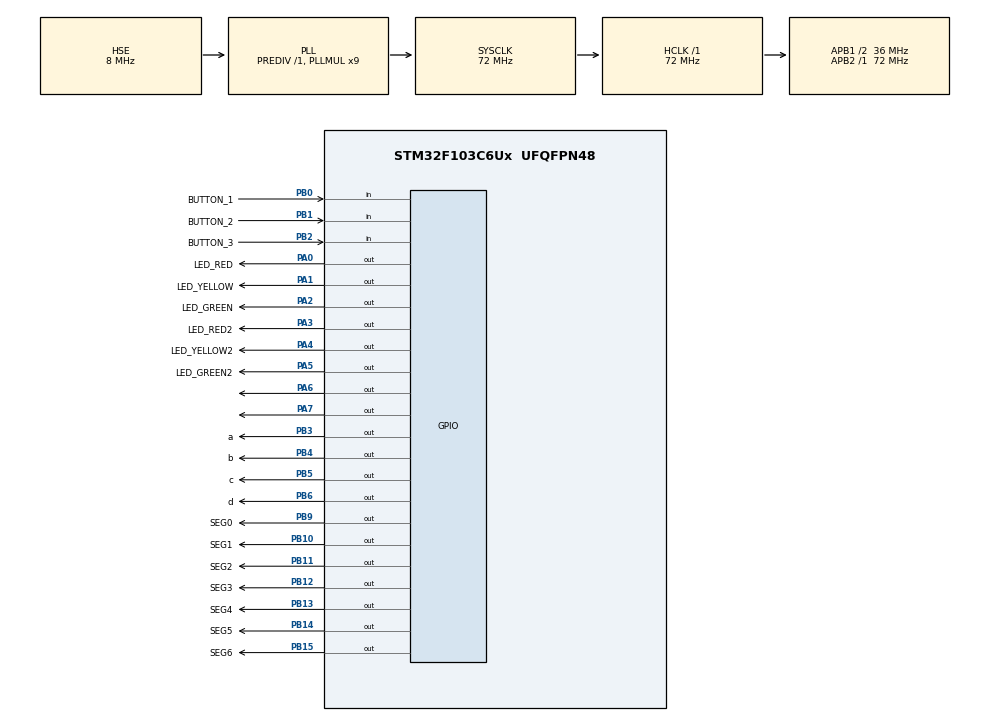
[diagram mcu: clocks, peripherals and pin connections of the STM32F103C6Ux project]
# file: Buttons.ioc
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Mcu.Family=STM32F1
Mcu.Name=STM32F103C6Ux
Mcu.Package=UFQFPN48
NVIC.PriorityGroup=NVIC_PRIORITYGROUP_4
NVIC.TIM2_IRQn=true\:0\:0\:false\:false\:true\:true\:true
PA0-WKUP.GPIO_Label=LED_RED
PA0-WKUP.Signal=GPIO_Output
PA1.GPIO_Label=LED_YELLOW
PA1.Signal=GPIO_Output
PA13.Mode=Serial_Wire
PA13.Signal=SYS_JTMS-SWDIO
PA14.Mode=Serial_Wire
PA14.Signal=SYS_JTCK-SWCLK
PA2.GPIO_Label=LED_GREEN
PA2.Signal=GPIO_Output
PA3.GPIO_Label=LED_RED2
PA3.Signal=GPIO_Output
PA4.GPIO_Label=LED_YELLOW2
PA4.Signal=GPIO_Output
PA5.GPIO_Label=LED_GREEN2
PA5.Signal=GPIO_Output
PA6.Signal=GPIO_Output
PA7.Signal=GPIO_Output
PB0.GPIO_Label=BUTTON_1
PB0.GPIO_PuPd=GPIO_PULLUP
PB0.Signal=GPIO_Input
PB1.GPIO_Label=BUTTON_2
PB1.Signal=GPIO_Input
PB10.GPIO_Label=SEG1
PB10.Signal=GPIO_Output
PB11.GPIO_Label=SEG2
PB11.Signal=GPIO_Output
PB12.GPIO_Label=SEG3
PB12.Signal=GPIO_Output
PB13.GPIO_Label=SEG4
PB13.Signal=GPIO_Output
PB14.GPIO_Label=SEG5
PB14.Signal=GPIO_Output
PB15.GPIO_Label=SEG6
PB15.Signal=GPIO_Output
PB2.GPIO_Label=BUTTON_3
PB2.Signal=GPIO_Input
PB3.GPIO_Label=a
PB3.Signal=GPIO_Output
PB4.GPIO_Label=b
PB4.Signal=GPIO_Output
PB5.GPIO_Label=c
PB5.Signal=GPIO_Output
PB6.GPIO_Label=d
PB6.Signal=GPIO_Output
PB9.GPIO_Label=SEG0
PB9.Signal=GPIO_Output
PD0-OSC_IN.Mode=HSE-External-Oscillator
PD0-OSC_IN.Signal=RCC_OSC_IN
PD1-OSC_OUT.Mode=HSE-External-Oscillator
PD1-OSC_OUT.Signal=RCC_OSC_OUT
ProjectManager.HeapSize=0x200
ProjectManager.StackSize=0x400
ProjectManager.TargetToolchain=STM32CubeIDE
RCC.AHBFreq_Value=72000000
RCC.APB1CLKDivider=RCC_HCLK_DIV2
RCC.APB1Freq_Value=36000000
RCC.APB1TimFreq_Value=72000000
RCC.APB2Freq_Value=72000000
RCC.APB2TimFreq_Value=72000000
RCC.HCLKFreq_Value=72000000
RCC.PLLMUL=RCC_PLL_MUL9
RCC.PLLSourceVirtual=RCC_PLLSOURCE_HSE
RCC.SYSCLKFreq_VALUE=72000000
RCC.SYSCLKSource=RCC_SYSCLKSOURCE_PLLCLK
RCC.USBFreq_Value=72000000
TIM2.Period=10000-1
TIM2.Prescaler=72-1
VP_TIM2_VS_ClockSourceINT.Mode=Internal
board=custom

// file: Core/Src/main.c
/* USER CODE BEGIN Header */
/**
  ******************************************************************************
  * @file           : main.c
  * @brief          : Main program body
  ******************************************************************************
  * @attention
  *
  * <h2><center>&copy; Copyright (c) 2026 STMicroelectronics.
  * All rights reserved.</center></h2>
  *
  * This software component is licensed by ST under BSD 3-Clause license,
  * the "License"; You may not use this file except in compliance with the
  * License. You may obtain a copy of the License at:
  *                        opensource.org/licenses/BSD-3-Clause
  *
  ******************************************************************************
  */
/* USER CODE END Header */
#include "main.h"

/* USER CODE BEGIN Includes */
#include "led_display.h"
#include "traffic_light.h"
/* USER CODE END Includes */

TIM_HandleTypeDef htim2;

void SystemClock_Config(void);
static void MX_GPIO_Init(void);
static void MX_TIM2_Init(void);

int main(void)
{

  /* MCU Configuration--------------------------------------------------------*/

  /* Reset of all peripherals, Initializes the Flash interface and the Systick. */
  HAL_Init();

  /* Configure the system clock */
  SystemClock_Config();

  /* Initialize all configured peripherals */
  MX_GPIO_Init();
  MX_TIM2_Init();
  /* USER CODE BEGIN 2 */
  HAL_TIM_Base_Start_IT(&htim2);
  /* USER CODE END 2 */

  /* Infinite loop */
  /* USER CODE BEGIN WHILE */
  while (1)
  {
	  fsm_for_input_processing();

	      if (status_traffic == MODE_1) {
	          fsm_for_traffic_lights();
	          led_buffer[0] = countdown1 / 10;
	          led_buffer[1] = countdown1 % 10;
	          led_buffer[2] = countdown2 / 10;
	          led_buffer[3] = countdown2 % 10;
	      }
	      else if (status_traffic == MODE_2) {
	          traffic_light_mode2();
	          led_buffer[0] = 0;
	          led_buffer[1] = 2;
	          led_buffer[2] = red_time / 10;
	          led_buffer[3] = red_time % 10;
	      }
	      else if (status_traffic == MODE_3) {
	          traffic_light_mode3();
	          led_buffer[0] = 0;
	          led_buffer[1] = 3;
	          led_buffer[2] = yellow_time / 10;
	          led_buffer[3] = yellow_time % 10;
	      }
	      else if (status_traffic == MODE_4) {
	          traffic_light_mode4();
	          led_buffer[0] = 0;
	          led_buffer[1] = 4;
	          led_buffer[2] = green_time / 10;
	          led_buffer[3] = green_time % 10;
	      }
    /* USER CODE END WHILE */

  }
}

void SystemClock_Config(void)
{
  RCC_OscInitTypeDef RCC_OscInitStruct = {0};
  RCC_ClkInitTypeDef RCC_ClkInitStruct = {0};

  /** Initializes the RCC Oscillators according to the specified parameters
  * in the RCC_OscInitTypeDef structure.
  */
  RCC_OscInitStruct.OscillatorType = RCC_OSCILLATORTYPE_HSE;
  RCC_OscInitStruct.HSEState = RCC_HSE_ON;
  RCC_OscInitStruct.HSEPredivValue = RCC_HSE_PREDIV_DIV1;
  RCC_OscInitStruct.HSIState = RCC_HSI_ON;
  RCC_OscInitStruct.PLL.PLLState = RCC_PLL_ON;
  RCC_OscInitStruct.PLL.PLLSource = RCC_PLLSOURCE_HSE;
  RCC_OscInitStruct.PLL.PLLMUL = RCC_PLL_MUL9;
  if (HAL_RCC_OscConfig(&RCC_OscInitStruct) != HAL_OK)
  {
    Error_Handler();
  }
  /** Initializes the CPU, AHB and APB buses clocks
  */
  RCC_ClkInitStruct.ClockType = RCC_CLOCKTYPE_HCLK|RCC_CLOCKTYPE_SYSCLK
                              |RCC_CLOCKTYPE_PCLK1|RCC_CLOCKTYPE_PCLK2;
  RCC_ClkInitStruct.SYSCLKSource = RCC_SYSCLKSOURCE_PLLCLK;
  RCC_ClkInitStruct.AHBCLKDivider = RCC_SYSCLK_DIV1;
  RCC_ClkInitStruct.APB1CLKDivider = RCC_HCLK_DIV2;
  RCC_ClkInitStruct.APB2CLKDivider = RCC_HCLK_DIV1;

  if (HAL_RCC_ClockConfig(&RCC_ClkInitStruct, FLASH_LATENCY_2) != HAL_OK)
  {
    Error_Handler();
  }
}

static void MX_TIM2_Init(void)
{

  TIM_ClockConfigTypeDef sClockSourceConfig = {0};
  TIM_MasterConfigTypeDef sMasterConfig = {0};

  htim2.Instance = TIM2;
  htim2.Init.Prescaler = 72-1;
  htim2.Init.CounterMode = TIM_COUNTERMODE_UP;
  htim2.Init.Period = 10000-1;
  htim2.Init.ClockDivision = TIM_CLOCKDIVISION_DIV1;
  htim2.Init.AutoReloadPreload = TIM_AUTORELOAD_PRELOAD_DISABLE;
  if (HAL_TIM_Base_Init(&htim2) != HAL_OK)
  {
    Error_Handler();
  }
  sClockSourceConfig.ClockSource = TIM_CLOCKSOURCE_INTERNAL;
  if (HAL_TIM_ConfigClockSource(&htim2, &sClockSourceConfig) != HAL_OK)
  {
    Error_Handler();
  }
  sMasterConfig.MasterOutputTrigger = TIM_TRGO_RESET;
  sMasterConfig.MasterSlaveMode = TIM_MASTERSLAVEMODE_DISABLE;
  if (HAL_TIMEx_MasterConfigSynchronization(&htim2, &sMasterConfig) != HAL_OK)
  {
    Error_Handler();
  }

}

static void MX_GPIO_Init(void)
{
  GPIO_InitTypeDef GPIO_InitStruct = {0};

  /* GPIO Ports Clock Enable */
  __HAL_RCC_GPIOD_CLK_ENABLE();
  __HAL_RCC_GPIOA_CLK_ENABLE();
  __HAL_RCC_GPIOB_CLK_ENABLE();

  /*Configure GPIO pin Output Level */
  HAL_GPIO_WritePin(GPIOA, LED_RED_Pin|LED_YELLOW_Pin|LED_GREEN_Pin|LED_RED2_Pin
                          |LED_YELLOW2_Pin|LED_GREEN2_Pin|GPIO_PIN_6|GPIO_PIN_7, GPIO_PIN_RESET);

  /*Configure GPIO pin Output Level */
  HAL_GPIO_WritePin(GPIOB, SEG1_Pin|SEG2_Pin|SEG3_Pin|SEG4_Pin
                          |SEG5_Pin|SEG6_Pin|a_Pin|b_Pin
                          |c_Pin|d_Pin|SEG0_Pin, GPIO_PIN_RESET);

  /*Configure GPIO pins : LED_RED_Pin LED_YELLOW_Pin LED_GREEN_Pin LED_RED2_Pin
                           LED_YELLOW2_Pin LED_GREEN2_Pin PA6 PA7 */
  GPIO_InitStruct.Pin = LED_RED_Pin|LED_YELLOW_Pin|LED_GREEN_Pin|LED_RED2_Pin
                          |LED_YELLOW2_Pin|LED_GREEN2_Pin|GPIO_PIN_6|GPIO_PIN_7;
  GPIO_InitStruct.Mode = GPIO_MODE_OUTPUT_PP;
  GPIO_InitStruct.Pull = GPIO_NOPULL;
  GPIO_InitStruct.Speed = GPIO_SPEED_FREQ_LOW;
  HAL_GPIO_Init(GPIOA, &GPIO_InitStruct);

  /*Configure GPIO pin : BUTTON_1_Pin */
  GPIO_InitStruct.Pin = BUTTON_1_Pin;
  GPIO_InitStruct.Mode = GPIO_MODE_INPUT;
  GPIO_InitStruct.Pull = GPIO_PULLUP;
  HAL_GPIO_Init(BUTTON_1_GPIO_Port, &GPIO_InitStruct);

  /*Configure GPIO pins : BUTTON_2_Pin BUTTON_3_Pin */
  GPIO_InitStruct.Pin = BUTTON_2_Pin|BUTTON_3_Pin;
  GPIO_InitStruct.Mode = GPIO_MODE_INPUT;
  GPIO_InitStruct.Pull = GPIO_NOPULL;
  HAL_GPIO_Init(GPIOB, &GPIO_InitStruct);

  /*Configure GPIO pins : SEG1_Pin SEG2_Pin SEG3_Pin SEG4_Pin
                           SEG5_Pin SEG6_Pin a_Pin b_Pin
                           c_Pin d_Pin SEG0_Pin */
  GPIO_InitStruct.Pin = SEG1_Pin|SEG2_Pin|SEG3_Pin|SEG4_Pin
                          |SEG5_Pin|SEG6_Pin|a_Pin|b_Pin
                          |c_Pin|d_Pin|SEG0_Pin;
  GPIO_InitStruct.Mode = GPIO_MODE_OUTPUT_PP;
  GPIO_InitStruct.Pull = GPIO_NOPULL;
  GPIO_InitStruct.Speed = GPIO_SPEED_FREQ_LOW;
  HAL_GPIO_Init(GPIOB, &GPIO_InitStruct);

}

void Error_Handler(void)
{
  __disable_irq();
  while (1)
  {
  }
}

/************************ (C) COPYRIGHT STMicroelectronics *****END OF FILE****/
